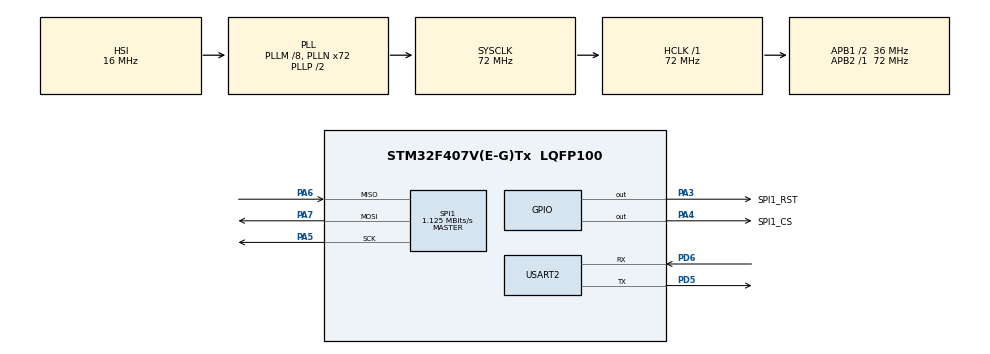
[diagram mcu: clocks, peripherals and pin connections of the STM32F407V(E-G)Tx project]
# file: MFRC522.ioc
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Mcu.Family=STM32F4
Mcu.Name=STM32F407V(E-G)Tx
Mcu.Package=LQFP100
NVIC.PriorityGroup=NVIC_PRIORITYGROUP_4
PA13.Mode=Serial_Wire
PA13.Signal=SYS_JTMS-SWDIO
PA14.Mode=Serial_Wire
PA14.Signal=SYS_JTCK-SWCLK
PA3.GPIO_Label=SPI1_RST
PA3.Signal=GPIO_Output
PA4.GPIO_Label=SPI1_CS
PA4.Signal=GPIO_Output
PA5.Mode=Full_Duplex_Master
PA5.Signal=SPI1_SCK
PA6.Mode=Full_Duplex_Master
PA6.Signal=SPI1_MISO
PA7.Mode=Full_Duplex_Master
PA7.Signal=SPI1_MOSI
PD5.Mode=Asynchronous
PD5.Signal=USART2_TX
PD6.Mode=Asynchronous
PD6.Signal=USART2_RX
PH0-OSC_IN.Mode=HSE-External-Oscillator
PH0-OSC_IN.Signal=RCC_OSC_IN
PH1-OSC_OUT.Mode=HSE-External-Oscillator
PH1-OSC_OUT.Signal=RCC_OSC_OUT
ProjectManager.HeapSize=0x200
ProjectManager.StackSize=0x400
ProjectManager.TargetToolchain=EWARM V8.50
RCC.48MHZClocksFreq_Value=36000000
RCC.AHBFreq_Value=72000000
RCC.APB1CLKDivider=RCC_HCLK_DIV2
RCC.APB1Freq_Value=36000000
RCC.APB1TimFreq_Value=72000000
RCC.APB2Freq_Value=72000000
RCC.APB2TimFreq_Value=72000000
RCC.CortexFreq_Value=72000000
RCC.HCLKFreq_Value=72000000
RCC.HSE_VALUE=8000000
RCC.HSI_VALUE=16000000
RCC.LSE_VALUE=32768
RCC.PLLM=8
RCC.PLLN=72
RCC.SYSCLKFreq_VALUE=72000000
RCC.SYSCLKSource=RCC_SYSCLKSOURCE_PLLCLK
RCC.VCOOutputFreq_Value=144000000
SPI1.BaudRatePrescaler=SPI_BAUDRATEPRESCALER_64
SPI1.CalculateBaudRate=1.125 MBits/s
SPI1.Direction=SPI_DIRECTION_2LINES
SPI1.Mode=SPI_MODE_MASTER
SPI1.VirtualType=VM_MASTER
USART2.VirtualMode=VM_ASYNC
board=custom

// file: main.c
/* USER CODE BEGIN Header */
/**
  ******************************************************************************
  * @file           : main.c
  * @brief          : Main program body
  ******************************************************************************
  * @attention
  *
  * Copyright (c) 2025 STMicroelectronics.
  * All rights reserved.
  *
  * This software is licensed under terms that can be found in the LICENSE file
  * in the root directory of this software component.
  * If no LICENSE file comes with this software, it is provided AS-IS.
  *
  ******************************************************************************
  */
/* USER CODE END Header */
#include "main.h"

/* USER CODE BEGIN Includes */
#include "MFRC522.h"
/* USER CODE END Includes */

SPI_HandleTypeDef hspi1;
UART_HandleTypeDef huart2;
/* USER CODE BEGIN PV */
char uartBuffer[128];
MFRC522_t mfrc522;
/* USER CODE END PV */

void SystemClock_Config(void);
static void MX_GPIO_Init(void);
static void MX_SPI1_Init(void);
static void MX_USART2_UART_Init(void);

int main(void)
{

  /* MCU Configuration--------------------------------------------------------*/

  /* Reset of all peripherals, Initializes the Flash interface and the Systick. */
  HAL_Init();

  /* Configure the system clock */
  SystemClock_Config();

  /* Initialize all configured peripherals */
  MX_GPIO_Init();
  MX_SPI1_Init();
  MX_USART2_UART_Init();
  /* USER CODE BEGIN 2 */
  mfrc522 = {&hspi1, SPI1_CS_GPIO_Port, SPI1_CS_Pin, SPI1_RST_GPIO_Port, SPI1_RST_Pin};
  MFRC522_INIT(&mfrc522);
  PrintData("RFID Reader Ready ... Waiting For Cards...\r\n");
  uint8_t uid[4];  // Buffer to store UID
  /* USER CODE END 2 */

  /* Infinite loop */
  while (1)
  {

    /* USER CODE BEGIN 3 */
    // Wait for card detection
    if (MFRC522_WAITCARDDETECT(&mfrc522) == STATUS_OK)
    {
        // Read UID from the card
        if (MFRC522_READUID(&mfrc522, uid) == STATUS_OK)
        {
            // Display UID message
            PrintData("*** CARD DETECTED ***\r\n");
            PrintData("UID: %02X %02X %02X %02X\r\n", uid[0], uid[1], uid[2], uid[3]);
            PrintData("**********************\r\n");

            // Wait for card removal before scanning again
            MFRC522_WAITCARDREMOVAL(&mfrc522);
            PrintData("Ready For Next Card ...\r\n");
        }
        else
        {
            PrintData("Error Reading UID ...\r\n");
        }
    }

    HAL_Delay(100);  // Small delay in main loop
  }
  /* USER CODE END 3 */
}

void SystemClock_Config(void)
{
  RCC_OscInitTypeDef RCC_OscInitStruct = {0};
  RCC_ClkInitTypeDef RCC_ClkInitStruct = {0};

  /** Configure the main internal regulator output voltage
  */
  __HAL_RCC_PWR_CLK_ENABLE();
  __HAL_PWR_VOLTAGESCALING_CONFIG(PWR_REGULATOR_VOLTAGE_SCALE1);

  /** Initializes the RCC Oscillators according to the specified parameters
  * in the RCC_OscInitTypeDef structure.
  */
  RCC_OscInitStruct.OscillatorType = RCC_OSCILLATORTYPE_HSI;
  RCC_OscInitStruct.HSIState = RCC_HSI_ON;
  RCC_OscInitStruct.HSICalibrationValue = RCC_HSICALIBRATION_DEFAULT;
  RCC_OscInitStruct.PLL.PLLState = RCC_PLL_ON;
  RCC_OscInitStruct.PLL.PLLSource = RCC_PLLSOURCE_HSI;
  RCC_OscInitStruct.PLL.PLLM = 8;
  RCC_OscInitStruct.PLL.PLLN = 72;
  RCC_OscInitStruct.PLL.PLLP = RCC_PLLP_DIV2;
  RCC_OscInitStruct.PLL.PLLQ = 4;
  if (HAL_RCC_OscConfig(&RCC_OscInitStruct) != HAL_OK)
  {
    Error_Handler();
  }

  /** Initializes the CPU, AHB and APB buses clocks
  */
  RCC_ClkInitStruct.ClockType = RCC_CLOCKTYPE_HCLK|RCC_CLOCKTYPE_SYSCLK
                              |RCC_CLOCKTYPE_PCLK1|RCC_CLOCKTYPE_PCLK2;
  RCC_ClkInitStruct.SYSCLKSource = RCC_SYSCLKSOURCE_PLLCLK;
  RCC_ClkInitStruct.AHBCLKDivider = RCC_SYSCLK_DIV1;
  RCC_ClkInitStruct.APB1CLKDivider = RCC_HCLK_DIV2;
  RCC_ClkInitStruct.APB2CLKDivider = RCC_HCLK_DIV1;

  if (HAL_RCC_ClockConfig(&RCC_ClkInitStruct, FLASH_LATENCY_2) != HAL_OK)
  {
    Error_Handler();
  }
}

static void MX_SPI1_Init(void)
{

  /* SPI1 parameter configuration*/
  hspi1.Instance = SPI1;
  hspi1.Init.Mode = SPI_MODE_MASTER;
  hspi1.Init.Direction = SPI_DIRECTION_2LINES;
  hspi1.Init.DataSize = SPI_DATASIZE_8BIT;
  hspi1.Init.CLKPolarity = SPI_POLARITY_LOW;
  hspi1.Init.CLKPhase = SPI_PHASE_1EDGE;
  hspi1.Init.NSS = SPI_NSS_SOFT;
  hspi1.Init.BaudRatePrescaler = SPI_BAUDRATEPRESCALER_64;
  hspi1.Init.FirstBit = SPI_FIRSTBIT_MSB;
  hspi1.Init.TIMode = SPI_TIMODE_DISABLE;
  hspi1.Init.CRCCalculation = SPI_CRCCALCULATION_DISABLE;
  hspi1.Init.CRCPolynomial = 10;
  if (HAL_SPI_Init(&hspi1) != HAL_OK)
  {
    Error_Handler();
  }

}

static void MX_USART2_UART_Init(void)
{

  huart2.Instance = USART2;
  huart2.Init.BaudRate = 115200;
  huart2.Init.WordLength = UART_WORDLENGTH_8B;
  huart2.Init.StopBits = UART_STOPBITS_1;
  huart2.Init.Parity = UART_PARITY_NONE;
  huart2.Init.Mode = UART_MODE_TX_RX;
  huart2.Init.HwFlowCtl = UART_HWCONTROL_NONE;
  huart2.Init.OverSampling = UART_OVERSAMPLING_16;
  if (HAL_UART_Init(&huart2) != HAL_OK)
  {
    Error_Handler();
  }

}

static void MX_GPIO_Init(void)
{
  GPIO_InitTypeDef GPIO_InitStruct = {0};

  /* GPIO Ports Clock Enable */
  __HAL_RCC_GPIOH_CLK_ENABLE();
  __HAL_RCC_GPIOA_CLK_ENABLE();
  __HAL_RCC_GPIOD_CLK_ENABLE();

  /*Configure GPIO pin Output Level */
  HAL_GPIO_WritePin(GPIOA, SPI1_RST_Pin|SPI1_CS_Pin, GPIO_PIN_RESET);

  /*Configure GPIO pins : SPI1_RST_Pin SPI1_CS_Pin */
  GPIO_InitStruct.Pin = SPI1_RST_Pin|SPI1_CS_Pin;
  GPIO_InitStruct.Mode = GPIO_MODE_OUTPUT_PP;
  GPIO_InitStruct.Pull = GPIO_NOPULL;
  GPIO_InitStruct.Speed = GPIO_SPEED_FREQ_LOW;
  HAL_GPIO_Init(GPIOA, &GPIO_InitStruct);

}

void Error_Handler(void)
{
  __disable_irq();
  while (1)
  {
  }
}
